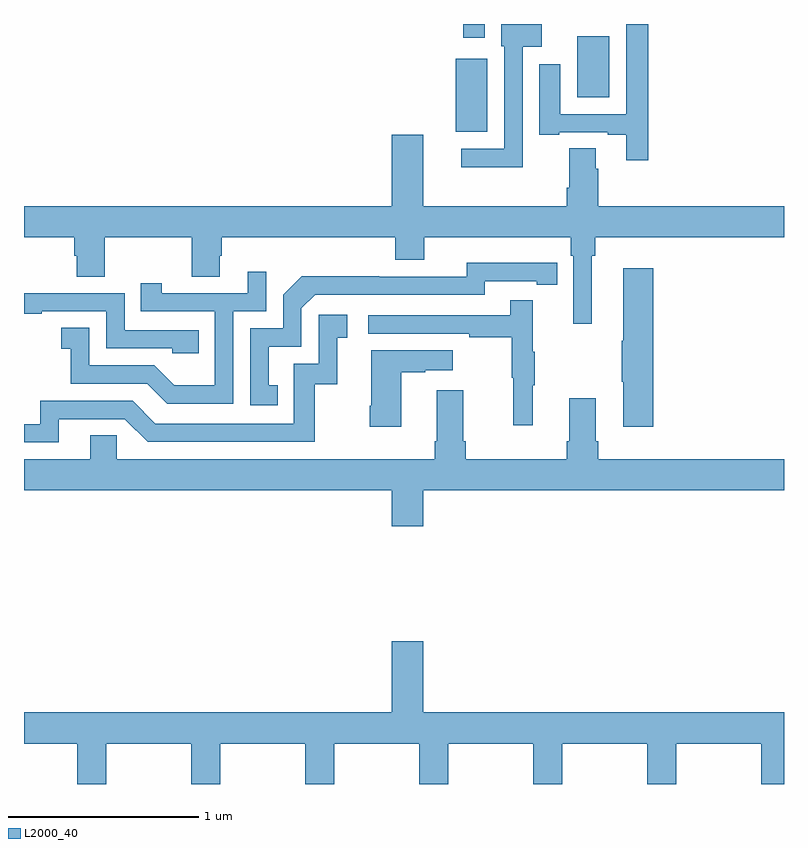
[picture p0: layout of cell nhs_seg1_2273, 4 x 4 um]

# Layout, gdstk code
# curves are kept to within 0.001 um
import gdstk
lib = gdstk.Library(unit=1e-6, precision=1e-09)
def R(c, l, rs):  # rectangles x0, y0, x1, y1
    for r in rs: c.add(gdstk.rectangle(r[:2], r[2:], *l))
def P(c, l, *ps):  # polygons
    for p in ps: c.add(gdstk.Polygon(p, *l))
L2000_40 = (2000, 40)

nhs_seg1_2273 = lib.new_cell('nhs_seg1_2273')
R(nhs_seg1_2273, L2000_40, [(237.272,541.631,237.439,542.017), (237.911,541.814,238.081,542.134), (237.311,542.127,237.424,542.199)])
P(nhs_seg1_2273, L2000_40, [(237.624,542.078),(237.724,542.078),(237.724,542.199),(237.512,542.199),(237.512,542.082),(237.528,542.082),(237.528,541.542),(237.3,541.542),(237.3,541.445),(237.624,541.445)],
  [(238.286,542.199),(238.17,542.199),(238.17,541.725),(237.823,541.725),(237.823,541.987),(237.713,541.987),(237.713,541.617),(237.817,541.617),(237.817,541.629),(238.073,541.629),(238.073,541.617),(238.169,541.617),(238.169,541.482),(238.286,541.482)],
  [(237.988,540.98),(238.007,540.98),(238.007,541.076),(239,541.076),(239,541.24),(238.022,541.24),(238.022,541.436),(238.009,541.436),(238.009,541.544),(237.869,541.544),(237.869,541.336),(237.857,541.336),(237.857,541.24),(237.1,541.24),(237.1,541.615),(236.936,541.615),(236.936,541.24),(235,541.24),(235,541.076),(235.265,541.076),(235.265,540.978),(235.277,540.978),(235.277,540.868),(235.425,540.868),(235.425,541.076),(235.882,541.076),(235.882,540.868),(236.029,540.868),(236.029,540.978),(236.042,540.978),(236.042,541.076),(236.954,541.076),(236.954,540.959),(237.106,540.959),(237.106,541.076),(237.878,541.076),(237.878,540.98),(237.891,540.98),(237.891,540.621),(237.988,540.621)],
  [(236.336,540.297),(236.287,540.297),(236.287,540.501),(236.46,540.501),(236.46,540.702),(236.532,540.774),(237.426,540.774),(237.426,540.846),(237.698,540.846),(237.698,540.826),(237.806,540.826),(237.806,540.942),(237.33,540.943),(237.33,540.87),(236.87,540.87),(236.87,540.872),(236.462,540.872),(236.364,540.774),(236.364,540.597),(236.19,540.597),(236.19,540.192),(236.336,540.192)],
  [(238.313,540.913),(238.154,540.913),(238.154,540.533),(238.147,540.533),(238.147,540.316),(238.154,540.316),(238.154,540.078),(238.313,540.078)],
  [(236.1,540.687),(236.274,540.687),(236.274,540.895),(236.177,540.895),(236.177,540.783),(235.726,540.783),(235.726,540.835),(235.615,540.835),(235.615,540.687),(236.004,540.687),(236.004,540.298),(235.79,540.298),(235.686,540.402),(235.344,540.402),(235.344,540.601),(235.197,540.601),(235.197,540.491),(235.246,540.491),(235.246,540.306),(235.649,540.306),(235.754,540.201),(236.1,540.201)],
  [(235.919,540.588),(235.53,540.588),(235.53,540.783),(235,540.783),(235,540.675),(235.093,540.675),(235.093,540.687),(235.434,540.687),(235.434,540.492),(235.779,540.492),(235.779,540.465),(235.919,540.465)],
  [(237.677,540.299),(237.688,540.299),(237.688,540.473),(237.677,540.473),(237.677,540.745),(237.559,540.745),(237.559,540.666),(236.811,540.666),(236.811,540.57),(237.343,540.57),(237.343,540.55),(237.567,540.55),(237.567,540.336),(237.574,540.336),(237.574,540.087),(237.677,540.087)],
  [(235.183,540.12),(235.53,540.12),(235.65,540),(236.53,540),(236.53,540.303),(236.648,540.303),(236.648,540.549),(236.701,540.549),(236.701,540.67),(236.55,540.67),(236.55,540.411),(236.421,540.411),(236.421,540.096),(235.692,540.096),(235.572,540.216),(235.086,540.216),(235.086,540.093),(235,540.093),(235,539.997),(235.183,539.997)],
  [(236.986,540.367),(237.113,540.367),(237.113,540.377),(237.256,540.377),(237.256,540.481),(236.828,540.481),(236.828,540.19),(236.821,540.19),(236.821,540.078),(236.986,540.078)],
  [(237.1,539.744),(239,539.744),(239,539.908),(238.022,539.908),(238.022,540.004),(238.009,540.004),(238.009,540.229),(237.869,540.229),(237.869,540.004),(237.857,540.004),(237.857,539.908),(237.326,539.908),(237.326,540.004),(237.313,540.004),(237.313,540.271),(237.173,540.271),(237.173,540.004),(237.161,540.004),(237.161,539.908),(235.488,539.908),(235.488,540.035),(235.349,540.035),(235.349,539.908),(235,539.908),(235,539.744),(236.936,539.744),(236.936,539.556),(237.1,539.556)],
  [(235.434,538.412),(235.879,538.412),(235.879,538.199),(236.034,538.199),(236.034,538.412),(236.479,538.412),(236.479,538.199),(236.634,538.199),(236.634,538.412),(237.079,538.412),(237.079,538.199),(237.234,538.199),(237.234,538.412),(237.679,538.412),(237.679,538.199),(237.834,538.199),(237.834,538.412),(238.279,538.412),(238.279,538.199),(238.434,538.199),(238.434,538.412),(238.879,538.412),(238.879,538.199),(239,538.199),(239,538.576),(237.1,538.576),(237.1,538.951),(236.936,538.951),(236.936,538.576),(235,538.576),(235,538.412),(235.279,538.412),(235.279,538.199),(235.434,538.199)])

lib.write_gds('nhs_seg1_2273.gds')
